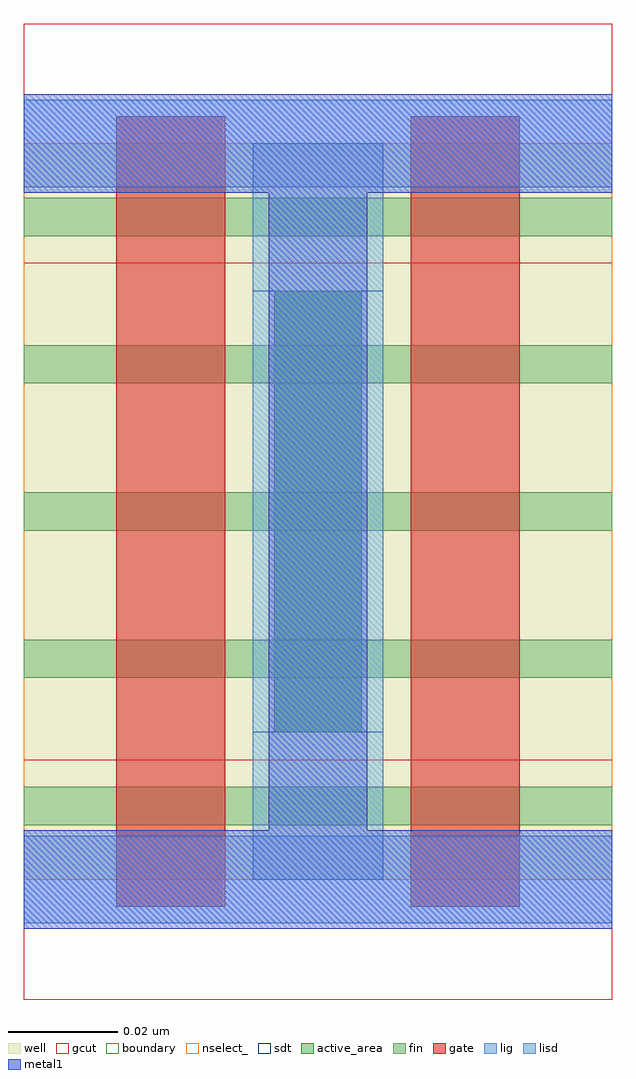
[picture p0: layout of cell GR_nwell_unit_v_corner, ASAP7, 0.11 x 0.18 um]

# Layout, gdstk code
import gdstk
lib = gdstk.Library(unit=1e-6, precision=2.5e-10)
def R(c, l, rs):  # rectangles x0, y0, x1, y1
    for r in rs: c.add(gdstk.rectangle(r[:2], r[2:], *l))
def A(c, l, x, y, w, h, nx, ny, dx, dy):  # array of equal rectangles
    R(c, l, [(x+i*dx, y+j*dy, x+i*dx+w, y+j*dy+h) for i in range(nx) for j in range(ny)])
well = (1, 0)
fin = (2, 0)
gate = (7, 0)
gcut = (10, 0)
active_area = (11, 0)
nselect_ = (12, 0)
lig = (16, 0)
lisd = (17, 0)
metal1 = (19, 0)
sdt = (88, 0)
boundary = (100, 0)

gr_nwell_unit_v_corner = lib.new_cell('GR_nwell_unit_v_corner')
R(gr_nwell_unit_v_corner, well, [(0,0,0.108,0.135)])
A(gr_nwell_unit_v_corner, fin, 0, 0.01, 0.108, 0.007, 1, 5, 0, 0.027)
R(gr_nwell_unit_v_corner, gate, [(0.017,-0.005,0.037,0.14), (0.071,-0.005,0.091,0.14)])
R(gr_nwell_unit_v_corner, gcut, [(0,-0.022,0.108,0.022), (0,0.113,0.108,0.157)])
R(gr_nwell_unit_v_corner, active_area, [(0.046,0.027,0.062,0.108)])
R(gr_nwell_unit_v_corner, nselect_, [(0,0,0.108,0.135)])
R(gr_nwell_unit_v_corner, lig, [(0,-0.008,0.108,0.008), (0,0.127,0.108,0.143)])
R(gr_nwell_unit_v_corner, lisd, [(0.042,0,0.066,0.135)])
R(gr_nwell_unit_v_corner, metal1, [(0,-0.009,0.108,0.009), (0.045,-0.008,0.063,0.143), (0,0.126,0.108,0.144)])
R(gr_nwell_unit_v_corner, sdt, [(0.042,0.027,0.066,0.108)])
R(gr_nwell_unit_v_corner, boundary, [(0,0,0.108,0.135)])

lib.write_gds('GR_nwell_unit_v_corner.gds')
